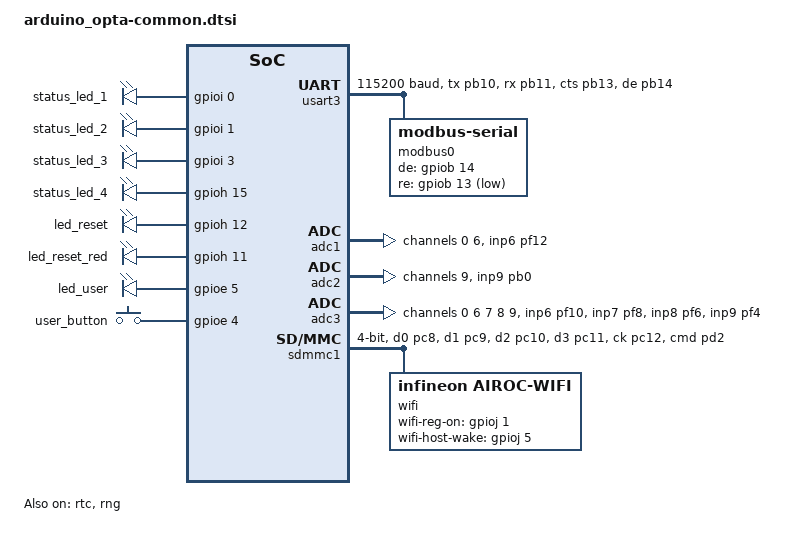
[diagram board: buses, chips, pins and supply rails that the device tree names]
/*
 * Copyright (c) 2023 Felipe Neves
 * Copyright (c) 2024 DNDG srl
 *
 * SPDX-License-Identifier: Apache-2.0
 */

/ {
	leds {
		compatible = "gpio-leds";

		status_led_1: led_1 {
			gpios = <&gpioi 0 GPIO_ACTIVE_HIGH>;
		};

		status_led_2: led_2 {
			gpios = <&gpioi 1 GPIO_ACTIVE_HIGH>;
		};

		status_led_3: led_3 {
			gpios = <&gpioi 3 GPIO_ACTIVE_HIGH>;
		};

		status_led_4: led_4 {
			gpios = <&gpioh 15 GPIO_ACTIVE_HIGH>;
		};

		led_reset: led_g {
			gpios = <&gpioh 12 GPIO_ACTIVE_HIGH>;
		};

		led_reset_red: led_r {
			gpios = <&gpioh 11 GPIO_ACTIVE_HIGH>;
		};

		led_user: led_b {
			gpios = <&gpioe 5 GPIO_ACTIVE_HIGH>;
		};
	};

	relays {
		compatible = "gpio-power-switches";

		output_d0: d0 {
			gpios = <&gpioi 6 GPIO_ACTIVE_HIGH>;
		};

		output_d1: d1 {
			gpios = <&gpioi 5 GPIO_ACTIVE_HIGH>;
		};

		output_d2: d2 {
			gpios = <&gpioi 7 GPIO_ACTIVE_HIGH>;
		};

		output_d3: d3 {
			gpios = <&gpioi 4 GPIO_ACTIVE_HIGH>;
		};
	};

	gpio_keys {
		compatible = "gpio-keys";

		user_button: button {
			gpios = <&gpioe 4 GPIO_ACTIVE_HIGH>;
			zephyr,code = <INPUT_KEY_WAKEUP>;
		};
	};

	aliases {
		sw0 = &user_button;
		led0 = &status_led_1;
		led1 = &status_led_2;
		led2 = &status_led_3;
		led3 = &status_led_4;
		relay1 = &output_d0;
		relay2 = &output_d1;
		relay3 = &output_d2;
		relay4 = &output_d3;
	};
};

&rcc {
	d1cpre = <1>;
	hpre = <2>;
	d1ppre = <2>;
	d2ppre1 = <2>;
	d2ppre2 = <2>;
	d3ppre = <2>;
};

&pwr {
	power-supply = "smps-ext-ldo";
	smps-output-voltage = "1V8";
};

&rtc {
	status = "okay";
};

&mailbox {
	status = "okay";
};

&rng {
	status = "okay";
};

&usart3 {
	pinctrl-0 = <&usart3_tx_pb10 &usart3_rx_pb11 &usart3_cts_pb13 &usart3_de_pb14>;
	pinctrl-names = "default";
	current-speed = <115200>;

	/* The RS485 is often used with the ModBus protocol. */
	modbus0 {
		compatible = "zephyr,modbus-serial";
		de-gpios = <&gpiob 14 GPIO_ACTIVE_HIGH>;
		re-gpios = <&gpiob 13 GPIO_ACTIVE_LOW>;
	};
};

&adc1 {
	pinctrl-0 = <&adc1_inp0_pa0_c &adc1_inp6_pf12>;
	pinctrl-names = "default";
	st,adc-clock-source = "SYNC";
	st,adc-prescaler = <4>;
	vref-mv = <10000>;

	#address-cells = <1>;
	#size-cells = <0>;

	a0: channel@0 {
		reg = <0>;
		zephyr,gain = "ADC_GAIN_1";
		zephyr,reference = "ADC_REF_INTERNAL";
		zephyr,acquisition-time = <ADC_ACQ_TIME_DEFAULT>;
		zephyr,resolution = <16>;
	};

	a2: channel@6 {
		reg = <6>;
		zephyr,gain = "ADC_GAIN_1";
		zephyr,reference = "ADC_REF_INTERNAL";
		zephyr,acquisition-time = <ADC_ACQ_TIME_DEFAULT>;
		zephyr,resolution = <16>;
	};
};

&adc2 {
	pinctrl-0 = <&adc2_inp9_pb0>;
	pinctrl-names = "default";
	st,adc-clock-source = "SYNC";
	st,adc-prescaler = <4>;
	vref-mv = <10000>;

	#address-cells = <1>;
	#size-cells = <0>;

	a3: channel@9 {
		reg = <9>;
		zephyr,gain = "ADC_GAIN_1";
		zephyr,reference = "ADC_REF_INTERNAL";
		zephyr,acquisition-time = <ADC_ACQ_TIME_DEFAULT>;
		zephyr,resolution = <16>;
	};
};

&adc3 {
	pinctrl-0 = <&adc3_inp6_pf10 &adc3_inp7_pf8 &adc3_inp8_pf6 &adc3_inp9_pf4 &adc3_inp0_pc2_c>;
	pinctrl-names = "default";
	st,adc-clock-source = "SYNC";
	st,adc-prescaler = <4>;
	vref-mv = <10000>;

	#address-cells = <1>;
	#size-cells = <0>;

	a1: channel@0 {
		reg = <0>;
		zephyr,gain = "ADC_GAIN_1";
		zephyr,reference = "ADC_REF_INTERNAL";
		zephyr,acquisition-time = <ADC_ACQ_TIME_DEFAULT>;
		zephyr,resolution = <16>;
	};

	a4: channel@6 {
		reg = <6>;
		zephyr,gain = "ADC_GAIN_1";
		zephyr,reference = "ADC_REF_INTERNAL";
		zephyr,acquisition-time = <ADC_ACQ_TIME_DEFAULT>;
		zephyr,resolution = <16>;
	};

	a5: channel@7 {
		reg = <7>;
		zephyr,gain = "ADC_GAIN_1";
		zephyr,reference = "ADC_REF_INTERNAL";
		zephyr,acquisition-time = <ADC_ACQ_TIME_DEFAULT>;
		zephyr,resolution = <16>;
	};

	a6: channel@8 {
		reg = <8>;
		zephyr,gain = "ADC_GAIN_1";
		zephyr,reference = "ADC_REF_INTERNAL";
		zephyr,acquisition-time = <ADC_ACQ_TIME_DEFAULT>;
		zephyr,resolution = <16>;
	};

	a7: channel@9 {
		reg = <9>;
		zephyr,gain = "ADC_GAIN_1";
		zephyr,reference = "ADC_REF_INTERNAL";
		zephyr,acquisition-time = <ADC_ACQ_TIME_DEFAULT>;
		zephyr,resolution = <16>;
	};
};

sdhc: &sdmmc1 {
	compatible = "st,stm32-sdio";
	pinctrl-0 = <&sdmmc1_d0_pc8 &sdmmc1_d1_pc9
		     &sdmmc1_d2_pc10 &sdmmc1_d3_pc11
		     &sdmmc1_ck_pc12 &sdmmc1_cmd_pd2>;
	pinctrl-names = "default";
	sdhi-on-gpios = <&gpioj 1 GPIO_ACTIVE_HIGH>;
	power-delay-ms = <50>;
	interrupts = <49 0>;
	interrupt-names = "event";
	min-bus-freq = <DT_FREQ_K(400)>;
	max-bus-freq = <DT_FREQ_M(208)>;
	hw-flow-control;
	bus-width = <4>;
	status = "okay";

	wifi: airoc-wifi {
		status = "okay";
		compatible = "infineon,airoc-wifi";
		wifi-reg-on-gpios = <&gpioj 1 GPIO_ACTIVE_HIGH>;
		wifi-host-wake-gpios = <&gpioj 5 GPIO_ACTIVE_HIGH>;
	};
};
